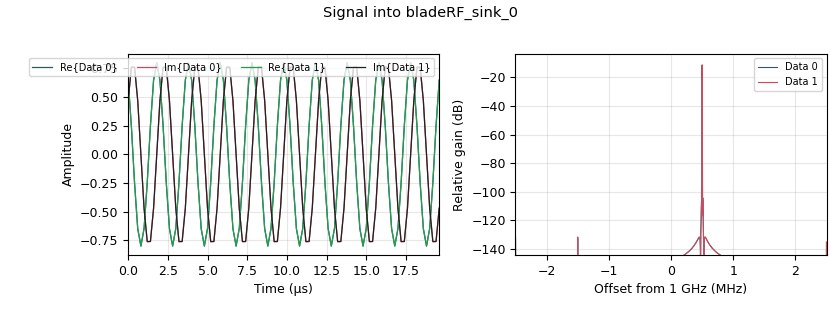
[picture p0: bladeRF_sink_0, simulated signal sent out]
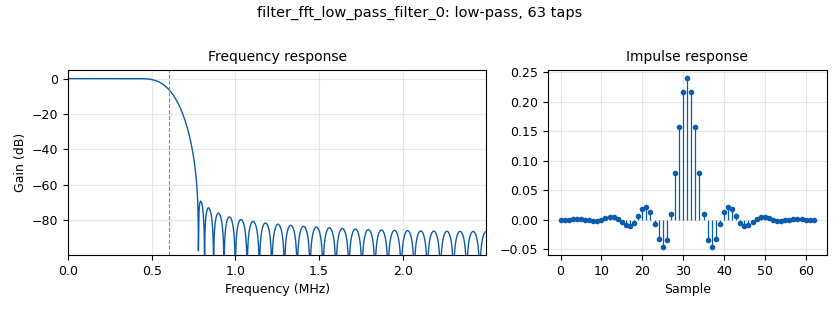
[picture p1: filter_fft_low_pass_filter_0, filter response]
options:
  parameters:
    generate_options: qt_gui
    id: SoilRF
    output_language: python
    title: Not titled yet
  states: {}

blocks:
- name: baseband
  id: variable
  parameters:
    value: 500e3
  states: {}
- name: c_freq_tx
  id: variable_qtgui_range
  parameters:
    label: c_freq_tx
    min_len: '3'
    start: 800e6
    step: 40e6
    stop: 6e9
    value: central_freq
  states: {}
- name: central_freq
  id: variable
  parameters:
    value: 1e9
  states: {}
- name: filename
  id: variable
  parameters:
    value: '"cal_"'
  states: {}
- name: monitoringLength
  id: variable
  parameters:
    value: 2**12
  states: {}
- name: note
  id: variable_qtgui_entry
  parameters:
    gui_hint: 0,1,1,1
    label: RECORDING NOTE
    type: string
    value: phase_24_
  states: {}
- name: offset
  id: variable_qtgui_range
  parameters:
    label: offset
    min_len: '3'
    start: '0'
    step: 100e3
    stop: 20e6
    value: '0'
  states: {}
- name: rec_button
  id: variable_qtgui_push_button
  parameters:
    gui_hint: 0,2,1,1
    label: RECORD
    pressed: '1'
    released: '0'
    type: bool
    value: '0'
  states: {}
- name: root_dir
  id: variable
  parameters:
    value: '"/home/hui/SoilRF_project/soilRF_cw/"'
  states: {}
- name: rx_bandwidth
  id: variable
  parameters:
    value: samp_rate
  states: {}
- name: rx_gain
  id: variable_qtgui_range
  parameters:
    label: rx_gain
    start: '0'
    step: '1'
    stop: '60'
    value: '35'
  states: {}
- name: rx_ref_gain
  id: variable_qtgui_range
  parameters:
    label: rx_ref_gain
    start: '0'
    step: '1'
    stop: '60'
    value: '0'
  states: {}
- name: samp_rate
  id: variable
  parameters:
    value: 5e6
  states: {}
- name: tx_gain
  id: variable_qtgui_range
  parameters:
    label: tx_gain
    start: '0'
    step: '1'
    stop: '66'
    value: '40'
  states: {}
- name: tx_ref_gain
  id: variable_qtgui_range
  parameters:
    label: tx_ref_gain
    start: '0'
    step: '1'
    stop: '60'
    value: '0'
  states: {}
- name: analog_sig_source_x_0
  id: analog_sig_source_x
  parameters:
    amp: '0.8'
    freq: baseband
    offset: '0'
    phase: '0'
    samp_rate: samp_rate
    type: complex
    waveform: analog.GR_COS_WAVE
  states: {}
- name: analog_sig_source_x_1_0
  id: analog_sig_source_x
  parameters:
    amp: '0.8'
    freq: baseband
    offset: '0'
    phase: '1.2'
    samp_rate: samp_rate
    type: complex
    waveform: analog.GR_COS_WAVE
  states: {state: disabled}
- name: bladeRF_sink_0
  id: bladeRF_sink
  parameters:
    bias_tee0: 'False'
    bias_tee1: 'False'
    buffers: '1024'
    buflen: '4096'
    bw: samp_rate
    dac: '7231'
    dc_calibration: LPF_TUNING
    device_id: ''
    feature: default
    fpga_image: ''
    fpga_reload: 'True'
    freq: c_freq_tx
    gain0: tx_gain
    gain1: tx_ref_gain
    if_gain0: '20'
    if_gain1: '20'
    in_clk: ONBOARD
    lpf_mode: disabled
    metadata: 'False'
    nchan: '2'
    out_clk: 'False'
    ref_clk: 10e6
    sample_format: 16bit
    sample_rate: samp_rate
    sampling: internal
    show_pmic: 'False'
    smb: 38.4e6
    tamer: internal
    trigger0: 'False'
    trigger1: 'False'
    trigger_role0: master
    trigger_role1: master
    trigger_signal0: J51_1
    trigger_signal1: J51_1
    use_dac: 'False'
    use_ref_clk: 'True'
    verbosity: verbose
    xb200: none
  states: {}
- name: bladeRF_source_0
  id: bladeRF_source
  parameters:
    bias_tee0: 'False'
    bias_tee1: 'False'
    buffers: '1024'
    buflen: '4096'
    bw: samp_rate
    dac: '7231'
    dc_calibration: LPF_TUNING
    dc_offset_mode0: '0'
    dc_offset_mode1: '0'
    device_id: ''
    feature: default
    fpga_image: ''
    fpga_reload: 'True'
    freq: c_freq_tx+offset
    gain0: rx_gain
    gain1: rx_ref_gain
    gain_mode0: 'False'
    gain_mode1: 'False'
    if_gain0: '20'
    if_gain1: '20'
    in_clk: ONBOARD
    iq_balance_mode0: '0'
    iq_balance_mode1: '0'
    lpf_mode: disabled
    metadata: 'False'
    nchan: '2'
    out_clk: 'False'
    ref_clk: 10e6
    sample_format: 16bit
    sample_rate: samp_rate
    sampling: internal
    show_pmic: 'False'
    smb: 38.4e6
    tamer: internal
    trigger0: 'False'
    trigger1: 'False'
    trigger_role0: master
    trigger_role1: master
    trigger_signal0: J51_1
    trigger_signal1: J51_1
    use_dac: 'False'
    use_ref_clk: 'False'
    verbosity: verbose
    xb200: none
  states: {}
- name: blocks_add_xx_0_0
  id: blocks_add_xx
  parameters:
    type: complex
  states: {state: disabled}
- name: blocks_complex_to_magphase_0
  id: blocks_complex_to_magphase
  parameters: {}
  states: {}
- name: blocks_file_sink_0
  id: blocks_file_sink
  parameters:
    file: root_dir+filename+str(int(c_freq_tx))+"_"+str(int(tx_gain))+note if rec_button==1 else "/dev/null"
    type: complex
  states: {state: disabled}
- name: blocks_integrate_xx_0
  id: blocks_integrate_xx
  parameters:
    decim: '64'
    type: complex
  states: {state: disabled}
- name: blocks_multiply_conjugate_cc_0
  id: blocks_multiply_conjugate_cc
  parameters: {}
  states: {}
- name: blocks_multiply_const_xx_0
  id: blocks_multiply_const_xx
  parameters:
    const: 1/64
    type: complex
  states: {state: disabled}
- name: blocks_throttle2_0
  id: blocks_throttle2
  parameters:
    samples_per_second: samp_rate
    type: complex
  states: {}
- name: filter_fft_low_pass_filter_0
  id: filter_fft_low_pass_filter
  parameters:
    beta: '6.76'
    cutoff_freq: baseband*1.2
    decim: '1'
    gain: '1'
    samp_rate: samp_rate
    type: ccc
    width: baseband/2
    win: window.WIN_KAISER
  states: {}
- name: import_0
  id: import
  parameters:
    imports: import os
  states: {}
- name: import_0_0
  id: import
  parameters:
    imports: import time
  states: {}
- name: import_0_0_0
  id: import
  parameters:
    imports: import datetime
  states: {}
- name: low_pass_filter_0
  id: low_pass_filter
  parameters:
    cutoff_freq: baseband*1.2
    decim: '1'
    gain: '1'
    samp_rate: samp_rate
    type: fir_filter_ccf
    width: baseband/2
    win: window.WIN_HAMMING
  states: {state: disabled}
- name: low_pass_filter_0_0
  id: low_pass_filter
  parameters:
    cutoff_freq: baseband*1.2
    decim: '1'
    gain: '1'
    samp_rate: samp_rate
    type: fir_filter_ccf
    width: baseband/2
    win: window.WIN_HAMMING
  states: {state: disabled}
- name: osmosdr_sink_0
  id: osmosdr_sink
  parameters:
    args: '"bladerf=0"'
    bb_gain0: '20'
    bw0: rx_bandwidth
    freq0: rx_freq
    gain0: tx_gain
    if_gain0: '20'
    sample_rate: samp_rate
    sync: sync
    type: fc32
  states: {state: disabled}
- name: osmosdr_sink_1
  id: osmosdr_sink
  parameters:
    args: '"bladerf=0"'
    bb_gain0: '20'
    freq0: c_freq_tx
    gain0: tx_gain
    if_gain0: '20'
    sample_rate: samp_rate
    sync: sync
    type: fc32
  states: {state: disabled}
- name: osmosdr_source_0
  id: osmosdr_source
  parameters:
    args: '"bladerf=0,nchan=2,agc=1"'
    bb_gain0: '20'
    bb_gain1: '20'
    corr1: '0'
    dc_offset_mode1: '0'
    freq0: c_freq_tx
    freq1: c_freq_tx
    gain0: ref_gain
    gain1: rx_gain
    gain_mode0: 'True'
    gain_mode1: 'True'
    if_gain0: '20'
    if_gain1: '20'
    iq_balance_mode1: '0'
    nchan: '2'
    sample_rate: samp_rate
    sync: sync
    type: fc32
  states: {state: disabled}
- name: qtgui_freq_sink_x_0
  id: qtgui_freq_sink_x
  parameters:
    bw: samp_rate
    fc: '0'
    fftsize: '8192'
    nconnections: '2'
    type: complex
  states: {}
- name: qtgui_ledindicator_0
  id: qtgui_ledindicator
  parameters:
    gui_hint: 0,3,1,1
    label: '"RED=RECORDING"'
    offColor: green
    onColor: red
    state: True if rec_button==1 else False
  states: {}
- name: qtgui_time_sink_x_0
  id: qtgui_time_sink_x
  parameters:
    gui_hint: 2,2,2,2
    name: '"Mag"'
    size: monitoringLength
    srate: samp_rate
    type: float
    ymax: '0.5'
    ymin: '0'
  states: {}
- name: qtgui_time_sink_x_0_0
  id: qtgui_time_sink_x
  parameters:
    gui_hint: 2,0,2,2
    name: '"Phase"'
    size: monitoringLength
    srate: samp_rate
    type: float
    ymax: '4'
    ymin: '-4'
  states: {}
- name: qtgui_time_sink_x_1_0
  id: qtgui_time_sink_x
  parameters:
    label1: rx1 real
    label2: rx1 img
    label3: rx2 real
    label4: rx2 img
    name: '"rx"'
    nconnections: '2'
    size: monitoringLength
    srate: samp_rate
    type: complex
  states: {}
- name: qtgui_time_sink_x_1_0_0
  id: qtgui_time_sink_x
  parameters:
    label1: rx1 real
    label2: rx1 img
    name: '"rx"'
    size: monitoringLength
    srate: samp_rate
    type: complex
  states: {state: disabled}

connections:
- [analog_sig_source_x_0, '0', blocks_throttle2_0, '0']
- [analog_sig_source_x_0, '0', osmosdr_sink_0, '0']
- [analog_sig_source_x_1_0, '0', blocks_add_xx_0_0, '1']
- [bladeRF_source_0, '0', blocks_multiply_conjugate_cc_0, '0']
- [bladeRF_source_0, '0', low_pass_filter_0, '0']
- [bladeRF_source_0, '0', qtgui_freq_sink_x_0, '0']
- [bladeRF_source_0, '0', qtgui_time_sink_x_1_0, '0']
- [bladeRF_source_0, '1', blocks_multiply_conjugate_cc_0, '1']
- [bladeRF_source_0, '1', low_pass_filter_0_0, '0']
- [bladeRF_source_0, '1', qtgui_freq_sink_x_0, '1']
- [bladeRF_source_0, '1', qtgui_time_sink_x_1_0, '1']
- [blocks_add_xx_0_0, '0', qtgui_time_sink_x_1_0_0, '0']
- [blocks_complex_to_magphase_0, '0', qtgui_time_sink_x_0, '0']
- [blocks_complex_to_magphase_0, '1', qtgui_time_sink_x_0_0, '0']
- [blocks_integrate_xx_0, '0', blocks_multiply_const_xx_0, '0']
- [blocks_multiply_conjugate_cc_0, '0', blocks_integrate_xx_0, '0']
- [blocks_multiply_conjugate_cc_0, '0', filter_fft_low_pass_filter_0, '0']
- [blocks_multiply_const_xx_0, '0', blocks_complex_to_magphase_0, '0']
- [blocks_multiply_const_xx_0, '0', blocks_file_sink_0, '0']
- [blocks_throttle2_0, '0', bladeRF_sink_0, '0']
- [blocks_throttle2_0, '0', bladeRF_sink_0, '1']
- [blocks_throttle2_0, '0', osmosdr_sink_1, '0']
- [filter_fft_low_pass_filter_0, '0', blocks_complex_to_magphase_0, '0']
- [filter_fft_low_pass_filter_0, '0', blocks_file_sink_0, '0']
- [low_pass_filter_0, '0', blocks_multiply_conjugate_cc_0, '0']
- [low_pass_filter_0, '0', qtgui_freq_sink_x_0, '0']
- [low_pass_filter_0, '0', qtgui_time_sink_x_1_0, '0']
- [low_pass_filter_0_0, '0', blocks_multiply_conjugate_cc_0, '1']
- [low_pass_filter_0_0, '0', qtgui_freq_sink_x_0, '1']
- [low_pass_filter_0_0, '0', qtgui_time_sink_x_1_0, '1']

metadata:
  file_format: 1
  grc_version: v3.10.9.2-39-gcf065ee5
